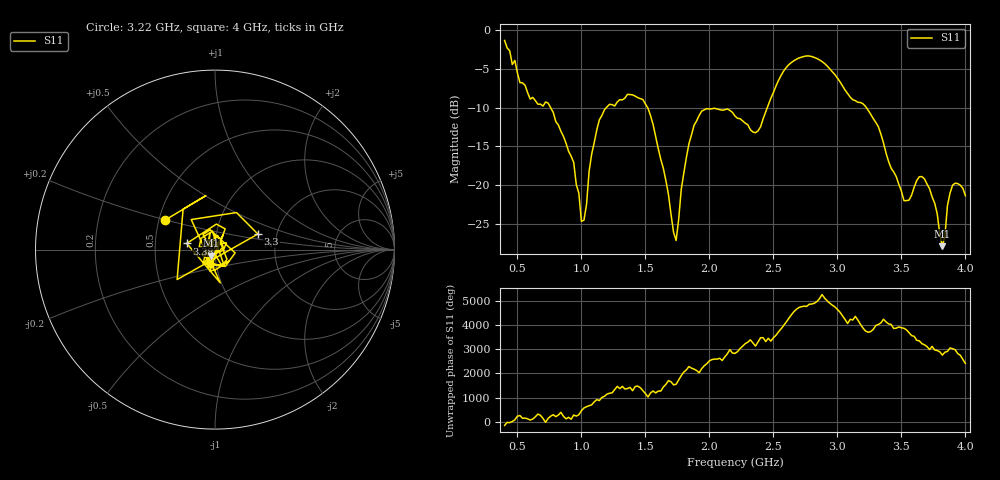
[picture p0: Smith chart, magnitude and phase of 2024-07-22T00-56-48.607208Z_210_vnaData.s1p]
!Created with skrf (http://scikit-rf.org).
# Hz S RI R 50.0
!freq ReS11 ImS11
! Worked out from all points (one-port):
!   181 points, 400 MHz to 4 GHz, reference 50 ohm
!   lowest |S11| = -27.9 dB at 3.82 GHz (marker M1), VSWR 1.08, Z = 47.7 - j3.25 ohm
!   |S11| at or under -10 dB: 759.9 MHz to 1.194 GHz (434.2 MHz wide, 44.4 % of centre); 1.518 GHz to 2.452 GHz (934.3 MHz wide, 47.1 % of centre); 3.227 GHz to end of sweep
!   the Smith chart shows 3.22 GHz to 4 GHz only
!   S11 on the Smith chart (normalised r, x): 3.22 GHz: 0.54, +0.20; 3.3 GHz: 1.59, +0.30; 3.38 GHz: 0.73, +0.05; 4 GHz: 0.93, -0.15
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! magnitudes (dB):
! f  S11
! 400 MHz  -1.3
! 520 MHz  -6.8
! 860 MHz  -13.7
! 940 MHz  -17.1
! 1 GHz  -24.6
! 1.02 GHz  -24.5
! 1.08 GHz  -16.0
! 1.14 GHz  -11.6
! 1.3 GHz  -9.0
! 1.52 GHz  -10.1
! 1.72 GHz  -26.1
! 1.74 GHz  -27.1
! 1.76 GHz  -24.4
! 1.84 GHz  -14.6
! 1.92 GHz  -11.0
! 2.2 GHz  -11.1
! 2.38 GHz  -13.0
! 2.66 GHz  -3.9
! 2.88 GHz  -4.0
! 3.1 GHz  -8.6
! 3.22 GHz  -9.8
! 3.3 GHz  -11.9
! 3.38 GHz  -15.9
! 3.56 GHz  -21.9
! 3.68 GHz  -19.2
! 3.82 GHz  -27.9
! 3.9 GHz  -20.0
! 4 GHz  -21.3
